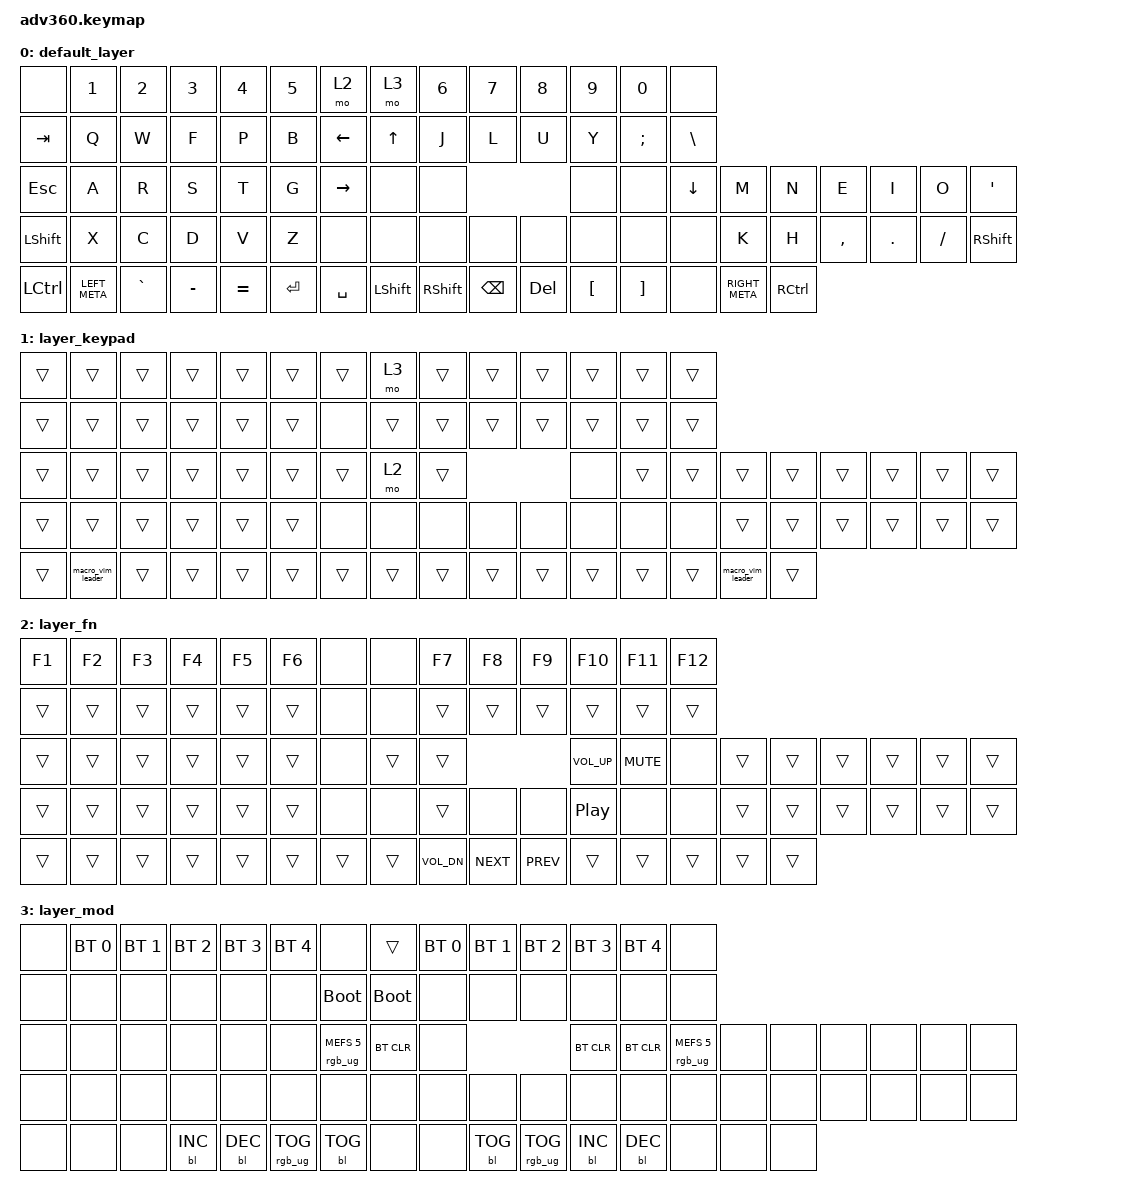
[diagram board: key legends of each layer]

/*
 * Copyright (c) 2020 The ZMK Contributors
 *
 * SPDX-License-Identifier: MIT
 */


/* THIS FILE WAS GENERATED!
 *
 * This file was generated automatically. You may or may not want to
 * edit it directly.
 */

#include <behaviors.dtsi>
#include <dt-bindings/zmk/keys.h>
#include <dt-bindings/zmk/bt.h>
#include <dt-bindings/zmk/rgb.h>
#include <dt-bindings/zmk/backlight.h>

/ {
  behaviors {
    #include "macros.dtsi"

    hm: homerow_mods {
        compatible = "zmk,behavior-hold-tap";
        label = "HOMEROW_MODS";
        #binding-cells = <2>;
        tapping-term-ms = <200>;
        quick_tap_ms = <175>;
        flavor = "tap-preferred";
        bindings = <&kp>, <&kp>;
    };
  };

    keymap {
        compatible = "zmk,keymap";


        default_layer {
            bindings = <
          &none         &kp N1     &kp N2     &kp N3     &kp N4     &kp N5                      &mo 2         &mo 3      &kp N6         &kp N7   &kp N8            &kp N9             &kp N0           &none
        &kp TAB          &kp Q      &kp W      &kp F      &kp P      &kp B             &kp LEFT_ARROW  &kp UP_ARROW       &kp J          &kp L    &kp U             &kp Y           &kp SEMI   &kp BACKSLASH
        &kp ESC          &kp A      &kp R      &kp S      &kp T      &kp G            &kp RIGHT_ARROW         &none       &none                                     &none              &none  &kp DOWN_ARROW           &kp M              &kp N      &kp E    &kp I      &kp O  &kp SINGLE_QUOTE
 &kp LEFT_SHIFT          &kp X      &kp C      &kp D      &kp V      &kp Z                      &none         &none       &none          &none    &none             &none              &none           &none           &kp K              &kp H  &kp COMMA  &kp DOT  &kp SLASH   &kp RIGHT_SHIFT
      &kp LCTRL  &kp LEFT_META  &kp GRAVE  &kp MINUS  &kp EQUAL  &kp ENTER                  &kp SPACE    &kp LSHIFT  &kp RSHIFT  &kp BACKSPACE  &kp DEL  &kp LEFT_BRACKET  &kp RIGHT_BRACKET           &none  &kp RIGHT_META  &kp RIGHT_CONTROL
            >;
        };

        layer_keypad {
            bindings = <
 &trans             &trans  &trans  &trans  &trans  &trans            &trans   &mo 3  &trans  &trans  &trans  &trans  &trans  &trans
 &trans             &trans  &trans  &trans  &trans  &trans             &none  &trans  &trans  &trans  &trans  &trans  &trans  &trans
 &trans             &trans  &trans  &trans  &trans  &trans            &trans   &mo 2  &trans                   &none  &trans  &trans             &trans  &trans  &trans  &trans  &trans  &trans
 &trans             &trans  &trans  &trans  &trans  &trans             &none   &none   &none   &none   &none   &none   &none   &none             &trans  &trans  &trans  &trans  &trans  &trans
 &trans  &macro_vim_leader  &trans  &trans  &trans  &trans            &trans  &trans  &trans  &trans  &trans  &trans  &trans  &trans  &macro_vim_leader  &trans
            >;
        };

        layer_fn {
            bindings = <
 &kp F1  &kp F2  &kp F3  &kp F4  &kp F5  &kp F6             &none   &none        &kp F7      &kp F8      &kp F9           &kp F10     &kp F11  &kp F12
 &trans  &trans  &trans  &trans  &trans  &trans             &none   &none        &trans      &trans      &trans            &trans      &trans   &trans
 &trans  &trans  &trans  &trans  &trans  &trans             &none  &trans        &trans                              &kp C_VOL_UP  &kp C_MUTE    &none  &trans  &trans  &trans  &trans  &trans  &trans
 &trans  &trans  &trans  &trans  &trans  &trans             &none   &none        &trans       &none       &none  &kp C_PLAY_PAUSE       &none    &none  &trans  &trans  &trans  &trans  &trans  &trans
 &trans  &trans  &trans  &trans  &trans  &trans            &trans  &trans  &kp C_VOL_DN  &kp C_NEXT  &kp C_PREV            &trans      &trans   &trans  &trans  &trans
            >;
        };

        layer_mod {
            bindings = <
  &none  &bt BT_SEL 0  &bt BT_SEL 1  &bt BT_SEL 2  &bt BT_SEL 3     &bt BT_SEL 4                             &none       &trans  &bt BT_SEL 0  &bt BT_SEL 1     &bt BT_SEL 2  &bt BT_SEL 3  &bt BT_SEL 4                   &none
  &none         &none         &none         &none         &none            &none                       &bootloader  &bootloader         &none         &none            &none         &none         &none                   &none
  &none         &none         &none         &none         &none            &none            &rgb_ug RGB_MEFS_CMD 5   &bt BT_CLR         &none                                   &bt BT_CLR    &bt BT_CLR  &rgb_ug RGB_MEFS_CMD 5   &none   &none   &none   &none   &none   &none
  &none         &none         &none         &none         &none            &none                             &none        &none         &none         &none            &none         &none         &none                   &none   &none   &none   &none   &none   &none   &none
  &none         &none         &none    &bl BL_INC    &bl BL_DEC  &rgb_ug RGB_TOG                        &bl BL_TOG        &none         &none    &bl BL_TOG  &rgb_ug RGB_TOG    &bl BL_INC    &bl BL_DEC                   &none   &none   &none
            >;
        };

    };
};
